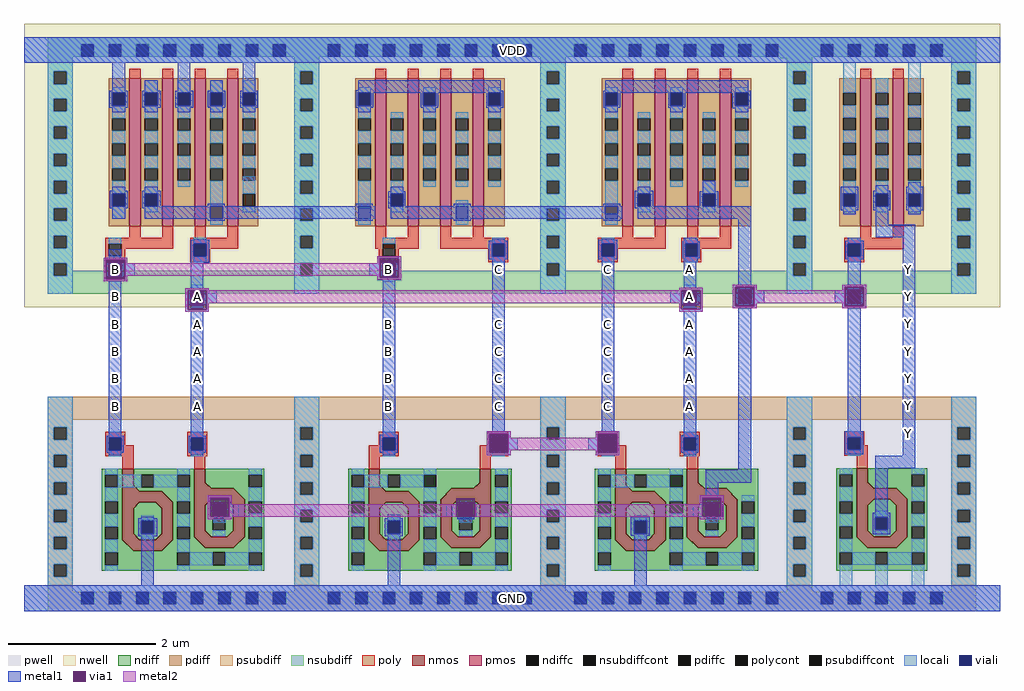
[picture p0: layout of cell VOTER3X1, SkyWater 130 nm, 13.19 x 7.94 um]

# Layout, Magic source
magic
tech sky130A
magscale 1 2
<< nwell >>
rect 0 822 2638 1588
<< pwell >>
rect 155 19 189 53
rect 64 0 2574 13
<< psubdiff >>
rect 64 0 2574 13
<< nsubdiff >>
rect 64 1547 2574 1552
<< locali >>
rect 0 1482 2638 1552
rect 0 0 2638 70
<< viali >>
rect 983 210 1017 244
<< metal1 >>
rect 0 1482 2638 1552
rect 229 907 263 941
rect 969 907 1003 941
rect 1265 907 1299 941
rect 1561 907 1595 941
rect 1783 907 1817 941
rect 2375 908 2409 942
rect 229 833 263 867
rect 451 833 485 867
rect 1783 833 1817 867
rect 2375 834 2409 868
rect 229 759 263 793
rect 451 759 485 793
rect 969 759 1003 793
rect 1265 759 1299 793
rect 1561 759 1595 793
rect 1783 759 1817 793
rect 2375 760 2409 794
rect 229 685 263 719
rect 451 685 485 719
rect 969 685 1003 719
rect 1265 685 1299 719
rect 1561 685 1595 719
rect 1783 685 1817 719
rect 2375 686 2409 720
rect 229 611 263 645
rect 451 611 485 645
rect 969 611 1003 645
rect 1265 611 1299 645
rect 1561 611 1595 645
rect 1783 611 1817 645
rect 2375 612 2409 646
rect 229 537 263 571
rect 451 537 485 571
rect 969 537 1003 571
rect 1265 537 1299 571
rect 1561 537 1595 571
rect 1783 537 1817 571
rect 2375 538 2409 572
rect 2375 464 2409 498
rect 983 251 1017 260
rect 976 244 1023 251
rect 976 210 983 244
rect 1017 210 1023 244
rect 976 204 1023 210
rect 983 74 1017 204
rect 0 0 2638 70
use voter3x1_pcell  voter3x1_pcell_0
transform 1 0 98 0 1 36
box -87 -34 2529 1550
<< labels >>
rlabel metal1 2375 834 2409 868 1 Y
port 1 nsew signal output
rlabel metal1 2375 760 2409 794 1 Y
port 1 nsew signal output
rlabel metal1 2375 908 2409 942 1 Y
port 1 nsew signal output
rlabel metal1 2375 686 2409 720 1 Y
port 1 nsew signal output
rlabel metal1 2375 612 2409 646 1 Y
port 1 nsew signal output
rlabel metal1 2375 538 2409 572 1 Y
port 1 nsew signal output
rlabel metal1 2375 464 2409 498 1 Y
port 1 nsew signal output
rlabel metal1 1783 907 1817 941 1 A
port 2 nsew signal input
rlabel metal1 451 833 485 867 1 A
port 2 nsew signal input
rlabel metal1 451 759 485 793 1 A
port 2 nsew signal input
rlabel metal1 451 685 485 719 1 A
port 2 nsew signal input
rlabel metal1 451 611 485 645 1 A
port 2 nsew signal input
rlabel metal1 451 537 485 571 1 A
port 2 nsew signal input
rlabel metal1 1783 537 1817 571 1 A
port 2 nsew signal input
rlabel metal1 1783 611 1817 645 1 A
port 2 nsew signal input
rlabel metal1 1783 685 1817 719 1 A
port 2 nsew signal input
rlabel metal1 1783 759 1817 793 1 A
port 2 nsew signal input
rlabel metal1 1783 833 1817 867 1 A
port 2 nsew signal input
rlabel metal1 229 907 263 941 1 B
port 3 nsew signal input
rlabel metal1 229 833 263 867 1 B
port 3 nsew signal input
rlabel metal1 229 759 263 793 1 B
port 3 nsew signal input
rlabel metal1 229 685 263 719 1 B
port 3 nsew signal input
rlabel metal1 229 611 263 645 1 B
port 3 nsew signal input
rlabel metal1 229 537 263 571 1 B
port 3 nsew signal input
rlabel metal1 969 537 1003 571 1 B
port 3 nsew signal input
rlabel metal1 969 611 1003 645 1 B
port 3 nsew signal input
rlabel metal1 969 685 1003 719 1 B
port 3 nsew signal input
rlabel metal1 969 759 1003 793 1 B
port 3 nsew signal input
rlabel metal1 969 907 1003 941 1 B
port 3 nsew signal input
rlabel metal1 1265 537 1299 571 1 C
port 4 nsew signal input
rlabel metal1 1265 611 1299 645 1 C
port 4 nsew signal input
rlabel metal1 1265 685 1299 719 1 C
port 4 nsew signal input
rlabel metal1 1265 759 1299 793 1 C
port 4 nsew signal input
rlabel metal1 1265 907 1299 941 1 C
port 4 nsew signal input
rlabel metal1 1561 537 1595 571 1 C
port 4 nsew signal input
rlabel metal1 1561 611 1595 645 1 C
port 4 nsew signal input
rlabel metal1 1561 685 1595 719 1 C
port 4 nsew signal input
rlabel metal1 1561 759 1595 793 1 C
port 4 nsew signal input
rlabel metal1 1561 907 1595 941 1 C
port 4 nsew signal input
rlabel metal1 0 1482 2638 1552 1 VDD
port 5 nsew power bidirectional abutment
rlabel metal1 0 0 2638 70 1 GND
port 6 nsew ground bidirectional abutment
<< properties >>
string FIXED_BBOX 0 0 2638 1552
string LEFclass CORE
string LEFsite unitrh
string LEFsymmetry X Y
<< end >>

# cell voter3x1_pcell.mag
magic
tech sky130A
magscale 1 2
<< metal1 >>
rect 1818 841 1882 847
rect 1818 789 1824 841
rect 1876 789 1882 841
rect 1818 783 1882 789
rect 2114 841 2178 847
rect 2114 789 2120 841
rect 2172 789 2178 841
rect 2114 783 2178 789
<< via1 >>
rect 1824 789 1876 841
rect 2120 789 2172 841
<< metal2 >>
rect 1818 841 1882 847
rect 1818 789 1824 841
rect 1876 831 1882 841
rect 2114 841 2178 847
rect 2114 831 2120 841
rect 1876 797 2120 831
rect 1876 789 1882 797
rect 1818 783 1882 789
rect 2114 789 2120 797
rect 2172 789 2178 841
rect 2114 783 2178 789
use invx1_pcell  invx1_pcell_0
transform 1 0 1998 0 1 0
box -87 -34 531 1550
use li1_M1_contact  li1_M1_contact_0
transform 1 0 2146 0 1 814
box -53 -33 29 33
use li1_M1_contact  li1_M1_contact_16
transform -1 0 1850 0 -1 814
box -53 -33 29 33
use votern3x1_pcell  votern3x1_pcell_0
transform 1 0 0 0 1 0
box -87 -34 2085 1550
<< end >>

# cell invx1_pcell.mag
magic
tech sky130A
magscale 1 2
<< nwell >>
rect -87 786 531 1550
<< pwell >>
rect -34 -34 478 544
<< pdiffc >>
rect 118 1059 152 1093
rect 206 1059 240 1093
rect 294 1059 328 1093
<< psubdiff >>
rect 34 482 410 544
rect 34 -17 57 17
rect 91 -17 131 17
rect 165 -17 205 17
rect 239 -17 279 17
rect 313 -17 353 17
rect 387 -17 410 17
rect 34 -34 410 -17
<< nsubdiff >>
rect 34 1497 410 1514
rect 34 1463 57 1497
rect 91 1463 131 1497
rect 165 1463 205 1497
rect 239 1463 279 1497
rect 313 1463 353 1497
rect 387 1463 410 1497
rect 34 822 410 884
<< psubdiffcont >>
rect 57 -17 91 17
rect 131 -17 165 17
rect 205 -17 239 17
rect 279 -17 313 17
rect 353 -17 387 17
<< nsubdiffcont >>
rect 57 1463 91 1497
rect 131 1463 165 1497
rect 205 1463 239 1497
rect 279 1463 313 1497
rect 353 1463 387 1497
<< poly >>
rect 155 381 185 413
<< locali >>
rect -34 1497 478 1514
rect -34 1463 57 1497
rect 91 1463 131 1497
rect 165 1463 205 1497
rect 239 1463 279 1497
rect 313 1463 353 1497
rect 387 1463 478 1497
rect -34 1446 478 1463
rect 118 1093 152 1117
rect 118 1043 152 1059
rect 206 1093 240 1117
rect 206 1043 240 1059
rect 294 1093 328 1117
rect 294 1043 328 1059
rect 109 34 143 84
rect 205 34 239 90
rect 303 34 337 90
rect -34 17 466 34
rect -34 -17 57 17
rect 91 -17 131 17
rect 165 -17 205 17
rect 239 -17 279 17
rect 313 -17 353 17
rect 387 -17 466 17
rect -34 -34 466 -17
<< viali >>
rect 57 1463 91 1497
rect 131 1463 165 1497
rect 205 1463 239 1497
rect 279 1463 313 1497
rect 353 1463 387 1497
rect 118 1059 152 1093
rect 206 1059 240 1093
rect 294 1059 328 1093
rect 131 923 165 957
rect 131 400 165 434
rect 205 184 239 218
rect 57 -17 91 17
rect 131 -17 165 17
rect 205 -17 239 17
rect 279 -17 313 17
rect 353 -17 387 17
<< metal1 >>
rect -34 1497 478 1514
rect -34 1463 57 1497
rect 91 1463 131 1497
rect 165 1463 205 1497
rect 239 1463 279 1497
rect 313 1463 353 1497
rect 387 1463 478 1497
rect -34 1446 478 1463
rect 112 1093 159 1111
rect 206 1101 240 1115
rect 294 1111 328 1124
rect 112 1059 118 1093
rect 152 1059 159 1093
rect 112 1048 159 1059
rect 200 1093 246 1101
rect 200 1059 206 1093
rect 240 1059 246 1093
rect 200 1048 246 1059
rect 288 1093 335 1111
rect 288 1059 294 1093
rect 328 1059 335 1093
rect 288 1048 335 1059
rect 118 1037 152 1048
rect 206 1009 240 1048
rect 294 1037 328 1048
rect 206 975 313 1009
rect 131 966 165 973
rect 124 957 174 966
rect 124 923 131 957
rect 165 923 174 957
rect 124 916 174 923
rect 131 450 165 916
rect 123 434 173 450
rect 123 400 131 434
rect 165 400 173 434
rect 123 388 173 400
rect 279 385 313 975
rect 205 351 313 385
rect 205 230 239 351
rect 198 218 246 230
rect 198 184 205 218
rect 239 184 246 218
rect 198 172 246 184
rect -34 17 478 34
rect -34 -17 57 17
rect 91 -17 131 17
rect 165 -17 205 17
rect 239 -17 279 17
rect 313 -17 353 17
rect 387 -17 478 17
rect -34 -34 478 -17
use diff_ring_side  diff_ring_side_0
transform 1 0 444 0 1 0
box -87 -34 87 1550
use diff_ring_side  diff_ring_side_1
transform 1 0 0 0 1 0
box -87 -34 87 1550
use nmos_top  nmos_top_0
transform -1 0 345 0 1 74
box 0 0 246 308
use pmos2  pmos2_0
transform 1 0 20 0 1 1404
box 52 -461 352 42
use poly_li1_contact  poly_li1_contact_0
transform 0 1 149 -1 0 941
box -32 -28 34 26
use poly_li1_contact  poly_li1_contact_1
transform 0 -1 147 1 0 416
box -32 -28 34 26
<< end >>

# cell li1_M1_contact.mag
magic
tech sky130A
magscale 1 2
<< locali >>
rect -17 17 17 33
rect -17 -33 17 -17
<< viali >>
rect -17 -17 17 17
<< metal1 >>
rect -23 17 23 23
rect -53 -17 -17 17
rect 17 -17 29 17
rect -23 -23 23 -17
<< end >>

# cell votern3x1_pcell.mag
magic
tech sky130A
magscale 1 2
<< nwell >>
rect 87 1529 579 1550
rect 753 1529 1245 1550
rect 1419 1529 1911 1550
rect 84 1508 582 1529
rect 34 1503 582 1508
rect 750 1504 1248 1529
rect 1416 1505 1914 1529
rect 34 1456 580 1503
rect 752 1460 1246 1504
rect 1418 1502 1914 1505
rect 1418 1463 1912 1502
rect 750 1456 1246 1460
rect 34 1446 582 1456
rect 84 786 582 1446
rect 750 786 1248 1456
rect 1416 1455 1912 1463
rect 1416 786 1914 1455
<< pwell >>
rect -34 230 2032 544
rect -34 162 871 230
rect 931 162 2032 230
rect -34 -34 2032 162
<< pdiffc >>
rect 141 1331 175 1365
rect 229 1331 263 1365
rect 317 1331 351 1365
rect 405 1331 439 1365
rect 493 1331 527 1365
rect 805 1331 839 1365
rect 981 1331 1015 1365
rect 1157 1331 1191 1365
rect 1473 1331 1507 1365
rect 1649 1331 1683 1365
rect 1825 1331 1859 1365
rect 141 1059 175 1093
rect 229 1059 263 1093
rect 493 1059 527 1093
rect 893 1059 927 1093
rect 1561 1059 1595 1093
rect 1737 1059 1771 1093
<< psubdiff >>
rect 34 482 632 544
rect 700 482 1298 544
rect 1366 482 1964 544
rect 34 -17 57 17
rect 91 -17 131 17
rect 165 -17 205 17
rect 239 -17 279 17
rect 313 -17 353 17
rect 387 -17 427 17
rect 461 -17 501 17
rect 535 -17 575 17
rect 609 -17 632 17
rect 34 -34 632 -17
rect 700 -17 723 17
rect 757 -17 797 17
rect 831 -17 871 17
rect 905 -17 945 17
rect 979 -17 1019 17
rect 1053 -17 1093 17
rect 1127 -17 1167 17
rect 1201 -17 1241 17
rect 1275 -17 1298 17
rect 700 -34 1298 -17
rect 1366 -17 1389 17
rect 1423 -17 1463 17
rect 1497 -17 1537 17
rect 1571 -17 1611 17
rect 1645 -17 1685 17
rect 1719 -17 1759 17
rect 1793 -17 1833 17
rect 1867 -17 1907 17
rect 1941 -17 1964 17
rect 1366 -34 1964 -17
<< nsubdiff >>
rect 34 1497 632 1514
rect 34 1463 57 1497
rect 91 1463 131 1497
rect 165 1463 205 1497
rect 239 1463 279 1497
rect 313 1463 353 1497
rect 387 1463 427 1497
rect 461 1463 501 1497
rect 535 1463 575 1497
rect 609 1463 632 1497
rect 700 1497 1298 1514
rect 700 1463 723 1497
rect 757 1463 797 1497
rect 831 1463 871 1497
rect 905 1463 945 1497
rect 979 1463 1019 1497
rect 1053 1463 1093 1497
rect 1127 1463 1167 1497
rect 1201 1463 1241 1497
rect 1275 1463 1298 1497
rect 1366 1497 1964 1514
rect 1366 1463 1389 1497
rect 1423 1463 1463 1497
rect 1497 1463 1537 1497
rect 1571 1463 1611 1497
rect 1645 1463 1685 1497
rect 1719 1463 1759 1497
rect 1793 1463 1833 1497
rect 1867 1463 1907 1497
rect 1941 1463 1964 1497
rect 1946 1459 1964 1463
rect 857 884 921 886
rect 34 822 635 884
rect 697 822 1301 884
rect 1363 822 1964 884
<< psubdiffcont >>
rect 57 -17 91 17
rect 131 -17 165 17
rect 205 -17 239 17
rect 279 -17 313 17
rect 353 -17 387 17
rect 427 -17 461 17
rect 501 -17 535 17
rect 575 -17 609 17
rect 723 -17 757 17
rect 797 -17 831 17
rect 871 -17 905 17
rect 945 -17 979 17
rect 1019 -17 1053 17
rect 1093 -17 1127 17
rect 1167 -17 1201 17
rect 1241 -17 1275 17
rect 1389 -17 1423 17
rect 1463 -17 1497 17
rect 1537 -17 1571 17
rect 1611 -17 1645 17
rect 1685 -17 1719 17
rect 1759 -17 1793 17
rect 1833 -17 1867 17
rect 1907 -17 1941 17
<< nsubdiffcont >>
rect 57 1463 91 1497
rect 131 1463 165 1497
rect 205 1463 239 1497
rect 279 1463 313 1497
rect 353 1463 387 1497
rect 427 1463 461 1497
rect 501 1463 535 1497
rect 575 1463 609 1497
rect 723 1463 757 1497
rect 797 1463 831 1497
rect 871 1463 905 1497
rect 945 1463 979 1497
rect 1019 1463 1053 1497
rect 1093 1463 1127 1497
rect 1167 1463 1201 1497
rect 1241 1463 1275 1497
rect 1389 1463 1423 1497
rect 1463 1463 1497 1497
rect 1537 1463 1571 1497
rect 1611 1463 1645 1497
rect 1685 1463 1719 1497
rect 1759 1463 1793 1497
rect 1833 1463 1867 1497
rect 1907 1463 1941 1497
<< poly >>
rect 175 944 187 974
rect 1145 944 1157 974
rect 1507 944 1519 974
rect 168 375 198 413
rect 362 381 392 383
rect 834 375 864 413
rect 1134 382 1164 413
rect 1500 375 1530 413
rect 1694 382 1724 383
<< locali >>
rect 34 1497 1966 1514
rect 34 1463 57 1497
rect 91 1463 131 1497
rect 165 1463 205 1497
rect 239 1463 279 1497
rect 313 1463 353 1497
rect 387 1463 427 1497
rect 461 1463 501 1497
rect 535 1463 575 1497
rect 609 1463 723 1497
rect 757 1463 797 1497
rect 831 1463 871 1497
rect 905 1463 945 1497
rect 979 1463 1019 1497
rect 1053 1463 1093 1497
rect 1127 1463 1167 1497
rect 1201 1463 1241 1497
rect 1275 1463 1389 1497
rect 1423 1463 1463 1497
rect 1497 1463 1537 1497
rect 1571 1463 1611 1497
rect 1645 1463 1685 1497
rect 1719 1463 1759 1497
rect 1793 1463 1833 1497
rect 1867 1463 1907 1497
rect 1941 1463 1966 1497
rect 34 1446 1966 1463
rect 141 1365 175 1381
rect 141 1312 175 1331
rect 229 1365 263 1399
rect 229 1311 263 1331
rect 317 1365 351 1399
rect 317 1311 351 1331
rect 405 1365 439 1399
rect 405 1311 439 1331
rect 493 1365 527 1399
rect 493 1311 527 1331
rect 805 1365 839 1381
rect 805 1297 839 1331
rect 981 1365 1015 1381
rect 981 1297 1015 1331
rect 1157 1365 1191 1381
rect 1157 1297 1191 1331
rect 1473 1365 1507 1381
rect 1473 1312 1507 1331
rect 1649 1365 1683 1381
rect 1649 1303 1683 1331
rect 1825 1365 1859 1381
rect 1825 1306 1859 1331
rect 141 1093 175 1123
rect 141 1025 175 1059
rect 229 1093 263 1122
rect 405 1072 439 1119
rect 493 1093 527 1140
rect 229 1043 263 1059
rect 805 1074 839 1127
rect 893 1093 927 1128
rect 493 1043 527 1059
rect 1473 1074 1507 1115
rect 1561 1093 1595 1118
rect 893 1043 927 1059
rect 1561 1043 1595 1059
rect 1737 1093 1771 1122
rect 1737 1043 1771 1059
rect 33 17 1987 34
rect 33 -17 57 17
rect 91 -17 131 17
rect 165 -17 205 17
rect 239 -17 279 17
rect 313 -17 353 17
rect 387 -17 427 17
rect 461 -17 501 17
rect 535 -17 575 17
rect 609 -17 723 17
rect 757 -17 797 17
rect 831 -17 871 17
rect 905 -17 945 17
rect 979 -17 1019 17
rect 1053 -17 1093 17
rect 1127 -17 1167 17
rect 1201 -17 1241 17
rect 1275 -17 1389 17
rect 1423 -17 1463 17
rect 1497 -17 1537 17
rect 1571 -17 1611 17
rect 1645 -17 1685 17
rect 1719 -17 1759 17
rect 1793 -17 1833 17
rect 1867 -17 1907 17
rect 1941 -17 1987 17
rect 33 -34 1987 -17
<< viali >>
rect 57 1463 91 1497
rect 131 1463 165 1497
rect 205 1463 239 1497
rect 279 1463 313 1497
rect 353 1463 387 1497
rect 427 1463 461 1497
rect 501 1463 535 1497
rect 575 1463 609 1497
rect 723 1463 757 1497
rect 797 1463 831 1497
rect 871 1463 905 1497
rect 945 1463 979 1497
rect 1019 1463 1053 1497
rect 1093 1463 1127 1497
rect 1167 1463 1201 1497
rect 1241 1463 1275 1497
rect 1389 1463 1423 1497
rect 1463 1463 1497 1497
rect 1537 1463 1571 1497
rect 1611 1463 1645 1497
rect 1685 1463 1719 1497
rect 1759 1463 1793 1497
rect 1833 1463 1867 1497
rect 1907 1463 1941 1497
rect 141 1331 175 1365
rect 229 1331 263 1365
rect 317 1331 351 1365
rect 405 1331 439 1365
rect 493 1331 527 1365
rect 805 1331 839 1365
rect 981 1331 1015 1365
rect 1157 1331 1191 1365
rect 1473 1331 1507 1365
rect 1649 1331 1683 1365
rect 1825 1331 1859 1365
rect 141 1059 175 1093
rect 229 1059 263 1093
rect 893 1059 927 1093
rect 1561 1059 1595 1093
rect 1737 1059 1771 1093
rect 361 924 395 958
rect 1167 924 1201 958
rect 1463 924 1497 958
rect 1689 924 1723 958
rect 131 399 165 433
rect 353 399 387 433
rect 871 399 905 433
rect 1685 399 1719 433
rect 219 174 253 208
rect 885 174 919 208
rect 1551 174 1585 208
rect 57 -17 91 17
rect 131 -17 165 17
rect 205 -17 239 17
rect 279 -17 313 17
rect 353 -17 387 17
rect 427 -17 461 17
rect 501 -17 535 17
rect 575 -17 609 17
rect 723 -17 757 17
rect 797 -17 831 17
rect 871 -17 905 17
rect 945 -17 979 17
rect 1019 -17 1053 17
rect 1093 -17 1127 17
rect 1167 -17 1201 17
rect 1241 -17 1275 17
rect 1389 -17 1423 17
rect 1463 -17 1497 17
rect 1537 -17 1571 17
rect 1611 -17 1645 17
rect 1685 -17 1719 17
rect 1759 -17 1793 17
rect 1833 -17 1867 17
rect 1907 -17 1941 17
<< metal1 >>
rect 34 1497 632 1514
rect 34 1463 57 1497
rect 91 1463 131 1497
rect 165 1463 205 1497
rect 239 1463 279 1497
rect 313 1463 353 1497
rect 387 1463 427 1497
rect 461 1463 501 1497
rect 535 1463 575 1497
rect 609 1463 632 1497
rect 34 1446 632 1463
rect 700 1497 1298 1514
rect 700 1463 723 1497
rect 757 1463 797 1497
rect 831 1463 871 1497
rect 905 1463 945 1497
rect 979 1463 1019 1497
rect 1053 1463 1093 1497
rect 1127 1463 1167 1497
rect 1201 1463 1241 1497
rect 1275 1463 1298 1497
rect 700 1446 1298 1463
rect 1366 1497 1964 1514
rect 1366 1463 1389 1497
rect 1423 1463 1463 1497
rect 1497 1463 1537 1497
rect 1571 1463 1611 1497
rect 1645 1463 1685 1497
rect 1719 1463 1759 1497
rect 1793 1463 1833 1497
rect 1867 1463 1907 1497
rect 1941 1463 1964 1497
rect 1366 1446 1964 1463
rect 141 1371 175 1446
rect 229 1371 263 1399
rect 317 1371 351 1446
rect 405 1371 439 1399
rect 493 1371 527 1446
rect 805 1372 1191 1399
rect 799 1371 1191 1372
rect 1473 1371 1859 1399
rect 133 1365 182 1371
rect 133 1331 141 1365
rect 175 1331 182 1365
rect 133 1325 182 1331
rect 222 1365 271 1371
rect 222 1331 229 1365
rect 263 1331 271 1365
rect 222 1325 271 1331
rect 311 1365 359 1371
rect 311 1331 317 1365
rect 351 1331 359 1365
rect 311 1325 359 1331
rect 399 1365 446 1371
rect 399 1331 405 1365
rect 439 1331 446 1365
rect 399 1325 446 1331
rect 486 1365 534 1371
rect 486 1331 493 1365
rect 527 1331 534 1365
rect 486 1325 534 1331
rect 799 1365 1198 1371
rect 799 1331 805 1365
rect 839 1331 846 1365
rect 799 1325 846 1331
rect 974 1331 981 1365
rect 1015 1331 1021 1365
rect 974 1325 1021 1331
rect 1151 1331 1157 1365
rect 1191 1331 1198 1365
rect 1151 1325 1198 1331
rect 1467 1365 1866 1371
rect 1467 1331 1473 1365
rect 1507 1331 1513 1365
rect 1467 1325 1513 1331
rect 1643 1331 1649 1365
rect 1683 1331 1689 1365
rect 1643 1325 1689 1331
rect 1816 1331 1825 1365
rect 1859 1331 1866 1365
rect 141 1313 175 1325
rect 229 1313 263 1325
rect 317 1313 351 1325
rect 405 1313 439 1325
rect 493 1313 527 1325
rect 805 1313 839 1325
rect 981 1313 1015 1325
rect 1157 1313 1191 1325
rect 1473 1313 1507 1325
rect 1649 1313 1683 1325
rect 1816 1323 1866 1331
rect 1825 1313 1859 1323
rect 141 1100 175 1111
rect 229 1100 263 1111
rect 134 1093 183 1100
rect 134 1059 141 1093
rect 175 1059 183 1093
rect 134 1053 183 1059
rect 222 1093 271 1100
rect 893 1099 927 1111
rect 1561 1100 1595 1111
rect 222 1059 229 1093
rect 263 1059 271 1093
rect 887 1093 933 1099
rect 887 1059 893 1093
rect 927 1059 933 1093
rect 1553 1093 1603 1100
rect 1737 1099 1771 1127
rect 1553 1059 1561 1093
rect 1595 1059 1603 1093
rect 1729 1093 1778 1099
rect 1729 1059 1737 1093
rect 1771 1059 1778 1093
rect 222 1053 405 1059
rect 141 1025 175 1053
rect 229 1025 405 1053
rect 475 1025 799 1059
rect 805 1023 839 1054
rect 887 1053 1103 1059
rect 893 1025 1103 1053
rect 1135 1025 1466 1059
rect 1553 1053 1867 1059
rect 1473 1025 1507 1038
rect 1561 1025 1867 1053
rect 1685 970 1719 974
rect 361 968 395 970
rect 353 958 403 968
rect 1167 965 1201 970
rect 1463 968 1497 970
rect 131 920 165 942
rect 353 924 361 958
rect 395 924 403 958
rect 117 914 181 920
rect 117 862 123 914
rect 175 862 181 914
rect 117 856 181 862
rect 353 906 403 924
rect 1158 958 1210 965
rect 1158 924 1167 958
rect 1201 924 1210 958
rect 857 918 921 923
rect 131 439 165 856
rect 353 837 387 906
rect 857 866 863 918
rect 915 866 921 918
rect 1158 916 1210 924
rect 1454 958 1505 968
rect 1685 964 1723 970
rect 1454 924 1463 958
rect 1497 924 1505 958
rect 857 859 921 866
rect 338 831 402 837
rect 338 779 344 831
rect 396 779 402 831
rect 338 773 402 779
rect 353 439 387 773
rect 871 441 905 859
rect 1167 450 1201 916
rect 1454 915 1505 924
rect 1683 958 1729 964
rect 1683 924 1689 958
rect 1723 924 1729 958
rect 1683 918 1729 924
rect 1463 450 1497 915
rect 1685 912 1723 918
rect 1685 838 1719 912
rect 1673 832 1737 838
rect 1673 780 1679 832
rect 1731 780 1737 832
rect 1673 774 1737 780
rect 1153 444 1217 450
rect 125 433 171 439
rect 125 399 131 433
rect 165 399 171 433
rect 125 393 171 399
rect 347 433 393 439
rect 347 399 353 433
rect 387 399 393 433
rect 347 393 393 399
rect 863 433 912 441
rect 863 399 871 433
rect 905 399 912 433
rect 863 393 912 399
rect 131 387 165 393
rect 353 387 387 393
rect 871 387 905 393
rect 1153 392 1159 444
rect 1211 392 1217 444
rect 1153 386 1217 392
rect 1447 444 1511 450
rect 1447 392 1453 444
rect 1505 392 1511 444
rect 1685 440 1719 774
rect 1679 433 1725 440
rect 1679 399 1685 433
rect 1719 399 1725 433
rect 1679 392 1725 399
rect 1447 386 1511 392
rect 1685 387 1719 392
rect 1833 346 1867 1025
rect 1745 312 1867 346
rect 399 271 463 277
rect 1745 271 1779 312
rect 219 216 253 220
rect 399 219 405 271
rect 457 219 463 271
rect 211 208 262 216
rect 399 213 463 219
rect 885 215 919 226
rect 1551 219 1585 220
rect 1729 219 1735 253
rect 211 174 219 208
rect 253 174 262 208
rect 211 167 262 174
rect 877 208 926 215
rect 877 174 885 208
rect 919 174 926 208
rect 877 167 926 174
rect 1542 208 1593 219
rect 1542 174 1551 208
rect 1585 174 1593 208
rect 1542 168 1593 174
rect 219 34 253 167
rect 885 34 919 167
rect 1551 34 1585 168
rect 34 17 632 34
rect 34 -17 57 17
rect 91 -17 131 17
rect 165 -17 205 17
rect 239 -17 279 17
rect 313 -17 353 17
rect 387 -17 427 17
rect 461 -17 501 17
rect 535 -17 575 17
rect 609 -17 632 17
rect 34 -34 632 -17
rect 700 17 1298 34
rect 700 -17 723 17
rect 757 -17 797 17
rect 831 -17 871 17
rect 905 -17 945 17
rect 979 -17 1019 17
rect 1053 -17 1093 17
rect 1127 -17 1167 17
rect 1201 -17 1241 17
rect 1275 -17 1298 17
rect 700 -34 1298 -17
rect 1366 17 1964 34
rect 1366 -17 1389 17
rect 1423 -17 1463 17
rect 1497 -17 1537 17
rect 1571 -17 1611 17
rect 1645 -17 1685 17
rect 1719 -17 1759 17
rect 1793 -17 1833 17
rect 1867 -17 1907 17
rect 1941 -17 1964 17
rect 1366 -34 1964 -17
<< via1 >>
rect 123 862 175 914
rect 863 866 915 918
rect 344 779 396 831
rect 1679 780 1731 832
rect 1159 392 1211 444
rect 1453 392 1505 444
rect 405 219 457 271
rect 1070 219 1122 271
rect 1735 219 1787 271
<< metal2 >>
rect 117 914 181 920
rect 117 862 123 914
rect 175 905 181 914
rect 857 918 921 924
rect 857 905 863 918
rect 175 871 863 905
rect 175 862 181 871
rect 117 856 181 862
rect 857 866 863 871
rect 915 866 921 918
rect 857 860 921 866
rect 338 832 402 837
rect 1673 832 1737 838
rect 338 831 1679 832
rect 338 779 344 831
rect 396 797 1679 831
rect 396 779 402 797
rect 338 773 402 779
rect 1673 780 1679 797
rect 1731 780 1737 832
rect 1673 774 1737 780
rect 1153 444 1217 450
rect 1153 392 1159 444
rect 1211 433 1217 444
rect 1447 444 1511 450
rect 1447 433 1453 444
rect 1211 399 1453 433
rect 1211 392 1217 399
rect 1153 386 1217 392
rect 1447 392 1453 399
rect 1505 392 1511 444
rect 1447 386 1511 392
rect 399 271 463 277
rect 1729 271 1793 277
rect 399 219 405 271
rect 457 253 463 271
rect 457 219 1070 253
rect 1729 253 1735 271
rect 1122 219 1735 253
rect 1787 219 1793 271
rect 399 213 463 219
rect 1729 213 1793 219
use diff_ring_side  diff_ring_side_0
transform 1 0 1998 0 1 0
box -87 -34 87 1550
use diff_ring_side  diff_ring_side_1
transform 1 0 0 0 1 0
box -87 -34 87 1550
use diff_ring_side  diff_ring_side_2
transform 1 0 666 0 1 0
box -87 -34 87 1550
use diff_ring_side  diff_ring_side_3
transform 1 0 1332 0 1 0
box -87 -34 87 1550
use li1_M1_contact  li1_M1_contact_0
transform -1 0 430 0 1 236
box -53 -33 29 33
use li1_M1_contact  li1_M1_contact_1
transform 1 0 1096 0 1 236
box -53 -33 29 33
use li1_M1_contact  li1_M1_contact_2
transform 1 0 1762 0 1 236
box -53 -33 29 33
use li1_M1_contact  li1_M1_contact_3
transform -1 0 422 0 1 1042
box -53 -33 29 33
use li1_M1_contact  li1_M1_contact_4
transform -1 0 1086 0 -1 1042
box -53 -33 29 33
use li1_M1_contact  li1_M1_contact_5
transform 1 0 1490 0 1 1042
box -53 -33 29 33
use li1_M1_contact  li1_M1_contact_6
transform -1 0 370 0 1 814
box -53 -33 29 33
use li1_M1_contact  li1_M1_contact_7
transform 1 0 822 0 -1 1042
box -53 -33 29 33
use li1_M1_contact  li1_M1_contact_8
transform 1 0 888 0 1 888
box -53 -33 29 33
use li1_M1_contact  li1_M1_contact_11
transform -1 0 1184 0 1 416
box -53 -33 29 33
use li1_M1_contact  li1_M1_contact_14
transform 1 0 1480 0 1 416
box -53 -33 29 33
use li1_M1_contact  li1_M1_contact_15
transform -1 0 148 0 1 888
box -53 -33 29 33
use li1_M1_contact  li1_M1_contact_16
transform 1 0 1702 0 1 814
box -53 -33 29 33
use nmos_bottom  nmos_bottom_0
transform -1 0 360 0 1 73
box 0 0 248 302
use nmos_bottom  nmos_bottom_1
transform -1 0 1026 0 1 73
box 0 0 248 302
use nmos_bottom  nmos_bottom_2
transform -1 0 1692 0 1 73
box 0 0 248 302
use nmos_top  nmos_top_0
transform -1 0 552 0 1 73
box 0 0 246 308
use nmos_top_trim1  nmos_top_trim1_0
transform 1 0 972 0 1 73
box 0 0 248 309
use nmos_top_trim2  nmos_top_trim2_2
transform -1 0 1886 0 1 73
box 0 0 248 309
use pmos2_1  pmos2_1_0
transform 1 0 43 0 1 1404
box 52 -460 352 37
use pmos2_1  pmos2_1_1
transform 1 0 219 0 1 1404
box 52 -460 352 37
use pmos2_1  pmos2_1_2
transform -1 0 1289 0 1 1404
box 52 -460 352 37
use pmos2_1  pmos2_1_3
transform -1 0 1113 0 1 1404
box 52 -460 352 37
use pmos2_1  pmos2_1_4
transform 1 0 1375 0 1 1404
box 52 -460 352 37
use pmos2_1  pmos2_1_5
transform 1 0 1551 0 1 1404
box 52 -460 352 37
use poly_li1_contact  poly_li1_contact_0
transform 0 1 149 -1 0 942
box -32 -28 34 26
use poly_li1_contact  poly_li1_contact_1
transform 0 -1 1183 -1 0 417
box -32 -28 34 26
use poly_li1_contact  poly_li1_contact_2
transform 0 -1 369 1 0 415
box -32 -28 34 26
use poly_li1_contact  poly_li1_contact_3
transform 0 1 379 -1 0 942
box -32 -28 34 26
use poly_li1_contact  poly_li1_contact_4
transform 0 -1 887 -1 0 417
box -32 -28 34 26
use poly_li1_contact  poly_li1_contact_5
transform 0 1 149 -1 0 417
box -32 -28 34 26
use poly_li1_contact  poly_li1_contact_6
transform 0 -1 1183 -1 0 942
box -32 -28 34 26
use poly_li1_contact  poly_li1_contact_7
transform 0 -1 887 -1 0 942
box -32 -28 34 26
use poly_li1_contact  poly_li1_contact_8
transform 0 1 1481 -1 0 942
box -32 -28 34 26
use poly_li1_contact  poly_li1_contact_9
transform 0 1 1707 -1 0 942
box -32 -28 34 26
use poly_li1_contact  poly_li1_contact_10
transform 0 -1 1479 -1 0 417
box -32 -28 34 26
use poly_li1_contact  poly_li1_contact_11
transform 0 -1 1701 -1 0 417
box -32 -28 34 26
<< end >>

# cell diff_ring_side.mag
magic
tech sky130A
magscale 1 2
<< nwell >>
rect -87 786 87 1550
<< pwell >>
rect -34 -34 34 544
<< psubdiff >>
rect -34 461 34 544
rect -34 427 -17 461
rect 17 427 34 461
rect -34 387 34 427
rect -34 353 -17 387
rect 17 353 34 387
rect -34 313 34 353
rect -34 279 -17 313
rect 17 279 34 313
rect -34 239 34 279
rect -34 205 -17 239
rect 17 205 34 239
rect -34 165 34 205
rect -34 131 -17 165
rect 17 131 34 165
rect -34 91 34 131
rect -34 57 -17 91
rect 17 57 34 91
rect -34 -34 34 57
<< nsubdiff >>
rect -34 1423 34 1514
rect -34 1389 -17 1423
rect 17 1389 34 1423
rect -34 1349 34 1389
rect -34 1315 -17 1349
rect 17 1315 34 1349
rect -34 1275 34 1315
rect -34 1241 -17 1275
rect 17 1241 34 1275
rect -34 1201 34 1241
rect -34 1167 -17 1201
rect 17 1167 34 1201
rect -34 1127 34 1167
rect -34 1093 -17 1127
rect 17 1093 34 1127
rect -34 1053 34 1093
rect -34 1019 -17 1053
rect 17 1019 34 1053
rect -34 979 34 1019
rect -34 945 -17 979
rect 17 945 34 979
rect -34 905 34 945
rect -34 871 -17 905
rect 17 871 34 905
rect -34 822 34 871
<< psubdiffcont >>
rect -17 427 17 461
rect -17 353 17 387
rect -17 279 17 313
rect -17 205 17 239
rect -17 131 17 165
rect -17 57 17 91
<< nsubdiffcont >>
rect -17 1389 17 1423
rect -17 1315 17 1349
rect -17 1241 17 1275
rect -17 1167 17 1201
rect -17 1093 17 1127
rect -17 1019 17 1053
rect -17 945 17 979
rect -17 871 17 905
<< locali >>
rect -34 1423 34 1514
rect -34 1389 -17 1423
rect 17 1389 34 1423
rect -34 1349 34 1389
rect -34 1315 -17 1349
rect 17 1315 34 1349
rect -34 1275 34 1315
rect -34 1241 -17 1275
rect 17 1241 34 1275
rect -34 1201 34 1241
rect -34 1167 -17 1201
rect 17 1167 34 1201
rect -34 1127 34 1167
rect -34 1093 -17 1127
rect 17 1093 34 1127
rect -34 1053 34 1093
rect -34 1019 -17 1053
rect 17 1019 34 1053
rect -34 979 34 1019
rect -34 945 -17 979
rect 17 945 34 979
rect -34 905 34 945
rect -34 871 -17 905
rect 17 871 34 905
rect -34 822 34 871
rect -34 461 34 544
rect -34 427 -17 461
rect 17 427 34 461
rect -34 387 34 427
rect -34 353 -17 387
rect 17 353 34 387
rect -34 313 34 353
rect -34 279 -17 313
rect 17 279 34 313
rect -34 239 34 279
rect -34 205 -17 239
rect 17 205 34 239
rect -34 165 34 205
rect -34 131 -17 165
rect 17 131 34 165
rect -34 91 34 131
rect -34 57 -17 91
rect 17 57 34 91
rect -34 -34 34 57
<< metal1 >>
rect -34 1446 34 1514
rect -34 -34 34 34
<< end >>

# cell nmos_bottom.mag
magic
tech sky130A
magscale 1 2
<< nmos >>
tri 146 215 162 231 se
rect 162 215 192 276
tri 56 185 86 215 se
rect 86 185 192 215
rect 56 84 86 185
tri 86 169 102 185 nw
tri 146 169 162 185 ne
tri 86 84 102 100 sw
tri 146 84 162 100 se
rect 162 84 192 185
tri 56 54 86 84 ne
rect 86 54 162 84
tri 162 54 192 84 nw
<< ndiff >>
rect 0 260 162 276
rect 0 226 10 260
rect 44 226 107 260
rect 141 231 162 260
rect 141 226 146 231
rect 0 215 146 226
tri 146 215 162 231 nw
rect 192 260 248 276
rect 192 226 204 260
rect 238 226 248 260
rect 0 188 56 215
rect 0 154 10 188
rect 44 154 56 188
tri 56 185 86 215 nw
rect 192 188 248 226
rect 0 120 56 154
rect 0 86 10 120
rect 44 86 56 120
rect 0 54 56 86
tri 86 169 102 185 se
rect 102 169 146 185
tri 146 169 162 185 sw
rect 86 135 162 169
rect 86 101 107 135
rect 141 101 162 135
rect 86 100 162 101
tri 86 84 102 100 ne
rect 102 84 146 100
tri 146 84 162 100 nw
rect 192 154 204 188
rect 238 154 248 188
rect 192 120 248 154
rect 192 86 204 120
rect 238 86 248 120
tri 56 54 86 84 sw
tri 162 54 192 84 se
rect 192 54 248 86
rect 0 50 248 54
rect 0 16 10 50
rect 44 16 204 50
rect 238 16 248 50
rect 0 0 248 16
<< ndiffc >>
rect 10 226 44 260
rect 107 226 141 260
rect 204 226 238 260
rect 10 154 44 188
rect 10 86 44 120
rect 107 101 141 135
rect 204 154 238 188
rect 204 86 238 120
rect 10 16 44 50
rect 204 16 238 50
<< poly >>
rect 162 276 192 302
<< locali >>
rect 10 260 44 276
rect 204 260 238 276
rect 44 226 107 260
rect 141 226 204 260
rect 10 188 44 226
rect 10 120 44 154
rect 204 188 238 226
rect 10 50 44 86
rect 107 135 141 151
rect 107 85 141 101
rect 204 120 238 154
rect 10 0 44 16
rect 204 50 238 86
rect 204 0 238 16
<< end >>

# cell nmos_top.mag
magic
tech sky130
magscale 1 2
<< nmos >>
tri 144 223 160 239 se
rect 160 223 190 276
tri 54 193 84 223 se
rect 84 193 190 223
rect 54 92 84 193
tri 84 177 100 193 nw
tri 144 177 160 193 ne
tri 84 92 100 108 sw
tri 144 92 160 108 se
rect 160 92 190 193
tri 54 62 84 92 ne
rect 84 62 160 92
tri 160 62 190 92 nw
<< ndiff >>
rect 0 260 160 276
rect 0 226 8 260
rect 42 239 160 260
rect 42 226 144 239
rect 0 223 144 226
tri 144 223 160 239 nw
rect 190 260 246 276
rect 190 226 202 260
rect 236 226 246 260
rect 0 188 54 223
tri 54 193 84 223 nw
rect 0 154 8 188
rect 42 154 54 188
rect 0 120 54 154
rect 0 86 8 120
rect 42 86 54 120
tri 84 177 100 193 se
rect 100 177 144 193
tri 144 177 160 193 sw
rect 84 144 160 177
rect 84 110 106 144
rect 140 110 160 144
rect 84 108 160 110
tri 84 92 100 108 ne
rect 100 92 144 108
tri 144 92 160 108 nw
rect 190 188 246 226
rect 190 154 202 188
rect 236 154 246 188
rect 190 120 246 154
rect 0 62 54 86
tri 54 62 84 92 sw
tri 160 62 190 92 se
rect 190 86 202 120
rect 236 86 246 120
rect 190 62 246 86
rect 0 50 246 62
rect 0 16 8 50
rect 42 16 106 50
rect 140 16 202 50
rect 236 16 246 50
rect 0 0 246 16
<< ndiffc >>
rect 8 226 42 260
rect 202 226 236 260
rect 8 154 42 188
rect 8 86 42 120
rect 106 110 140 144
rect 202 154 236 188
rect 202 86 236 120
rect 8 16 42 50
rect 106 16 140 50
rect 202 16 236 50
<< poly >>
rect 160 276 190 308
<< locali >>
rect 8 260 42 276
rect 8 188 42 226
rect 202 260 236 276
rect 202 188 236 226
rect 8 120 42 154
rect 106 144 140 161
rect 106 94 140 110
rect 202 120 236 154
rect 8 50 42 86
rect 202 50 236 86
rect 42 16 106 50
rect 140 16 202 50
rect 8 0 42 16
rect 202 0 236 16
<< end >>

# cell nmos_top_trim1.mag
magic
tech sky130
magscale 1 2
<< nmos >>
tri 146 223 162 239 se
rect 162 223 192 276
tri 56 193 86 223 se
rect 86 193 192 223
rect 56 92 86 193
tri 86 177 102 193 nw
tri 146 177 162 193 ne
tri 86 92 102 108 sw
tri 146 92 162 108 se
rect 162 92 192 193
tri 56 62 86 92 ne
rect 86 62 162 92
tri 162 62 192 92 nw
<< ndiff >>
rect 0 239 162 276
rect 0 223 146 239
tri 146 223 162 239 nw
rect 192 260 248 276
rect 192 226 204 260
rect 238 226 248 260
rect 0 188 56 223
tri 56 193 86 223 nw
rect 0 154 10 188
rect 44 154 56 188
rect 0 120 56 154
rect 0 86 10 120
rect 44 86 56 120
tri 86 177 102 193 se
rect 102 177 146 193
tri 146 177 162 193 sw
rect 86 144 162 177
rect 86 110 107 144
rect 141 110 162 144
rect 86 108 162 110
tri 86 92 102 108 ne
rect 102 92 146 108
tri 146 92 162 108 nw
rect 192 188 248 226
rect 192 154 204 188
rect 238 154 248 188
rect 192 120 248 154
rect 0 62 56 86
tri 56 62 86 92 sw
tri 162 62 192 92 se
rect 192 86 204 120
rect 238 86 248 120
rect 192 62 248 86
rect 0 50 248 62
rect 0 16 10 50
rect 44 16 107 50
rect 141 16 204 50
rect 238 16 248 50
rect 0 0 248 16
<< ndiffc >>
rect 204 226 238 260
rect 10 154 44 188
rect 10 86 44 120
rect 107 110 141 144
rect 204 154 238 188
rect 204 86 238 120
rect 10 16 44 50
rect 107 16 141 50
rect 204 16 238 50
<< poly >>
rect 162 276 192 309
<< locali >>
rect 204 260 238 276
rect 10 188 44 204
rect 204 188 238 226
rect 10 120 44 154
rect 107 144 141 161
rect 107 94 141 110
rect 204 120 238 154
rect 10 50 44 86
rect 204 50 238 86
rect 44 16 107 50
rect 141 16 204 50
rect 10 0 44 16
rect 204 0 238 16
<< end >>

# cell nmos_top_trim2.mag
magic
tech sky130
magscale 1 2
<< nmos >>
tri 146 223 162 239 se
rect 162 223 192 276
tri 56 193 86 223 se
rect 86 193 192 223
rect 56 178 87 193
tri 87 178 102 193 nw
tri 146 178 161 193 ne
rect 161 178 192 193
rect 56 92 86 178
tri 86 92 102 108 sw
tri 146 92 162 108 se
rect 162 92 192 178
tri 56 62 86 92 ne
rect 86 62 162 92
tri 162 62 192 92 nw
<< ndiff >>
rect 0 239 162 276
rect 0 223 146 239
tri 146 223 162 239 nw
rect 0 188 56 223
tri 56 193 86 223 nw
rect 0 154 10 188
rect 44 154 56 188
tri 87 178 102 193 se
rect 102 178 146 193
tri 146 178 161 193 sw
rect 192 188 248 276
rect 0 120 56 154
rect 0 86 10 120
rect 44 86 56 120
rect 86 144 162 178
rect 86 110 107 144
rect 141 110 162 144
rect 86 108 162 110
tri 86 92 102 108 ne
rect 102 92 146 108
tri 146 92 162 108 nw
rect 192 154 204 188
rect 238 154 248 188
rect 192 120 248 154
rect 0 62 56 86
tri 56 62 86 92 sw
tri 162 62 192 92 se
rect 192 86 204 120
rect 238 86 248 120
rect 192 62 248 86
rect 0 50 248 62
rect 0 16 10 50
rect 44 16 107 50
rect 141 16 204 50
rect 238 16 248 50
rect 0 0 248 16
<< ndiffc >>
rect 10 154 44 188
rect 10 86 44 120
rect 107 110 141 144
rect 204 154 238 188
rect 204 86 238 120
rect 10 16 44 50
rect 107 16 141 50
rect 204 16 238 50
<< poly >>
rect 162 276 192 309
<< locali >>
rect 10 188 44 205
rect 204 188 238 205
rect 10 120 44 154
rect 107 144 141 161
rect 107 94 141 110
rect 204 120 238 154
rect 10 50 44 86
rect 204 50 238 86
rect 44 16 107 50
rect 141 16 204 50
rect 10 0 44 16
rect 204 0 238 16
<< end >>

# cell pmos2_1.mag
magic
tech sky130A
magscale 1 2
<< nwell >>
rect 52 -435 352 37
<< pmos >>
rect 144 -399 174 1
rect 232 -399 262 1
<< pdiff >>
rect 88 -107 144 1
rect 88 -141 98 -107
rect 132 -141 144 -107
rect 88 -175 144 -141
rect 88 -209 98 -175
rect 132 -209 144 -175
rect 88 -243 144 -209
rect 88 -277 98 -243
rect 132 -277 144 -243
rect 88 -399 144 -277
rect 174 -107 232 1
rect 174 -141 186 -107
rect 220 -141 232 -107
rect 174 -175 232 -141
rect 174 -209 186 -175
rect 220 -209 232 -175
rect 174 -243 232 -209
rect 174 -277 186 -243
rect 220 -277 232 -243
rect 174 -399 232 -277
rect 262 -107 316 1
rect 262 -141 274 -107
rect 308 -141 316 -107
rect 262 -175 316 -141
rect 262 -209 274 -175
rect 308 -209 316 -175
rect 262 -243 316 -209
rect 262 -277 274 -243
rect 308 -277 316 -243
rect 262 -399 316 -277
<< pdiffc >>
rect 98 -141 132 -107
rect 98 -209 132 -175
rect 98 -277 132 -243
rect 186 -141 220 -107
rect 186 -209 220 -175
rect 186 -277 220 -243
rect 274 -141 308 -107
rect 274 -209 308 -175
rect 274 -277 308 -243
<< poly >>
rect 144 1 174 27
rect 232 1 262 27
rect 144 -430 174 -399
rect 232 -430 262 -399
rect 144 -460 262 -430
<< locali >>
rect 98 -107 132 -91
rect 98 -175 132 -141
rect 98 -243 132 -209
rect 98 -293 132 -277
rect 186 -107 220 -91
rect 186 -175 220 -141
rect 186 -243 220 -209
rect 186 -293 220 -277
rect 274 -107 308 -91
rect 274 -175 308 -141
rect 274 -243 308 -209
rect 274 -293 308 -277
<< end >>

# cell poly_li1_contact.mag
magic
tech sky130
<< poly >>
rect -16 8 17 13
rect -16 -9 -8 8
rect 9 -9 17 8
rect -16 -14 17 -9
<< polycont >>
rect -8 -9 9 8
<< locali >>
rect -16 -9 -8 8
rect 9 -9 17 8
<< end >>

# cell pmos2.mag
magic
tech sky130A
magscale 1 2
<< nwell >>
rect 52 -436 352 36
<< pmos >>
rect 144 -400 174 0
rect 232 -400 262 0
<< pdiff >>
rect 88 -38 144 0
rect 88 -72 98 -38
rect 132 -72 144 -38
rect 88 -106 144 -72
rect 88 -140 98 -106
rect 132 -140 144 -106
rect 88 -174 144 -140
rect 88 -208 98 -174
rect 132 -208 144 -174
rect 88 -242 144 -208
rect 88 -276 98 -242
rect 132 -276 144 -242
rect 88 -400 144 -276
rect 174 -38 232 0
rect 174 -72 186 -38
rect 220 -72 232 -38
rect 174 -106 232 -72
rect 174 -140 186 -106
rect 220 -140 232 -106
rect 174 -174 232 -140
rect 174 -208 186 -174
rect 220 -208 232 -174
rect 174 -242 232 -208
rect 174 -276 186 -242
rect 220 -276 232 -242
rect 174 -400 232 -276
rect 262 -38 316 0
rect 262 -72 274 -38
rect 308 -72 316 -38
rect 262 -106 316 -72
rect 262 -140 274 -106
rect 308 -140 316 -106
rect 262 -174 316 -140
rect 262 -208 274 -174
rect 308 -208 316 -174
rect 262 -242 316 -208
rect 262 -276 274 -242
rect 308 -276 316 -242
rect 262 -400 316 -276
<< pdiffc >>
rect 98 -72 132 -38
rect 98 -140 132 -106
rect 98 -208 132 -174
rect 98 -276 132 -242
rect 186 -72 220 -38
rect 186 -140 220 -106
rect 186 -208 220 -174
rect 186 -276 220 -242
rect 274 -72 308 -38
rect 274 -140 308 -106
rect 274 -208 308 -174
rect 274 -276 308 -242
<< poly >>
rect 144 0 174 26
rect 232 0 262 26
rect 144 -431 174 -400
rect 232 -431 262 -400
rect 144 -461 262 -431
<< locali >>
rect 98 -38 132 42
rect 98 -106 132 -72
rect 98 -174 132 -140
rect 98 -242 132 -208
rect 98 -293 132 -276
rect 186 -38 220 0
rect 186 -106 220 -72
rect 186 -174 220 -140
rect 186 -242 220 -208
rect 186 -293 220 -276
rect 274 -38 308 42
rect 274 -106 308 -72
rect 274 -174 308 -140
rect 274 -242 308 -208
rect 274 -293 308 -276
<< end >>
